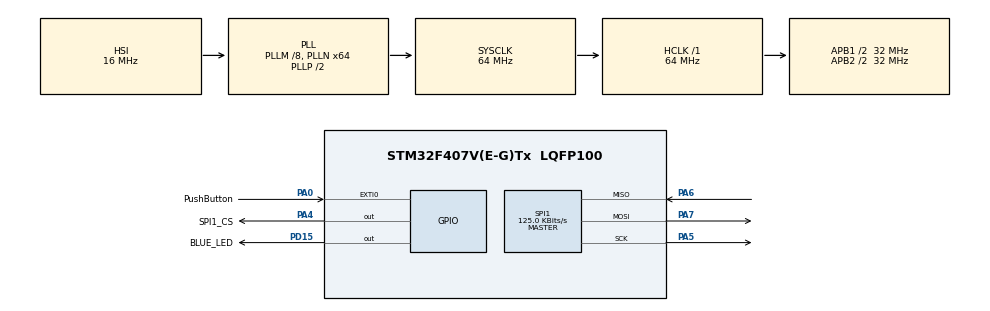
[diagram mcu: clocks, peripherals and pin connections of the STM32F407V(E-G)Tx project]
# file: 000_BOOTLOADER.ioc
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FATFS._MAX_SS=4096
FATFS._USE_LFN=1
Mcu.Family=STM32F4
Mcu.Name=STM32F407V(E-G)Tx
Mcu.Package=LQFP100
NVIC.EXTI0_IRQn=true\:0\:0\:false\:false\:true\:true\:true\:true
NVIC.PriorityGroup=NVIC_PRIORITYGROUP_0
PA0-WKUP.GPIO_Label=PushButton
PA0-WKUP.GPIO_ModeDefaultEXTI=GPIO_MODE_IT_FALLING
PA0-WKUP.GPIO_PuPd=GPIO_PULLUP
PA0-WKUP.Signal=GPXTI0
PA13.Mode=Serial_Wire
PA13.Signal=SYS_JTMS-SWDIO
PA14.Mode=Serial_Wire
PA14.Signal=SYS_JTCK-SWCLK
PA4.GPIO_Label=SPI1_CS
PA4.Signal=GPIO_Output
PA5.GPIO_PuPd=GPIO_PULLUP
PA5.GPIO_Speed=GPIO_SPEED_FREQ_LOW
PA5.Mode=Full_Duplex_Master
PA5.Signal=SPI1_SCK
PA6.GPIO_PuPd=GPIO_PULLUP
PA6.GPIO_Speed=GPIO_SPEED_FREQ_LOW
PA6.Mode=Full_Duplex_Master
PA6.Signal=SPI1_MISO
PA7.GPIO_PuPd=GPIO_PULLUP
PA7.GPIO_Speed=GPIO_SPEED_FREQ_LOW
PA7.Mode=Full_Duplex_Master
PA7.Signal=SPI1_MOSI
PD15.GPIO_Label=BLUE_LED
PD15.Signal=GPIO_Output
ProjectManager.HeapSize=0x200
ProjectManager.StackSize=0x400
ProjectManager.TargetToolchain=STM32CubeIDE
RCC.48MHZClocksFreq_Value=18285714.285714287
RCC.AHBFreq_Value=64000000
RCC.APB1CLKDivider=RCC_HCLK_DIV2
RCC.APB1Freq_Value=32000000
RCC.APB1TimFreq_Value=64000000
RCC.APB2CLKDivider=RCC_HCLK_DIV2
RCC.APB2Freq_Value=32000000
RCC.APB2TimFreq_Value=64000000
RCC.CortexFreq_Value=64000000
RCC.HCLKFreq_Value=64000000
RCC.HSE_VALUE=8000000
RCC.HSI_VALUE=16000000
RCC.LSE_VALUE=32768
RCC.PLLM=8
RCC.PLLN=64
RCC.PLLQ=7
RCC.SYSCLKFreq_VALUE=64000000
RCC.SYSCLKSource=RCC_SYSCLKSOURCE_PLLCLK
RCC.VCOOutputFreq_Value=128000000
SPI1.BaudRatePrescaler=SPI_BAUDRATEPRESCALER_256
SPI1.CalculateBaudRate=125.0 KBits/s
SPI1.Direction=SPI_DIRECTION_2LINES
SPI1.Mode=SPI_MODE_MASTER
SPI1.VirtualType=VM_MASTER
VP_FATFS_VS_Generic.Mode=User_defined
board=STM32F407G-DISC1

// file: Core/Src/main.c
/* USER CODE BEGIN Header */
/**
 ******************************************************************************
 * @file           : main.c
 * @brief          : Main program body
 ******************************************************************************
 * @attention
 *
 * Copyright (c) 2026 STMicroelectronics.
 * All rights reserved.
 *
 * This software is licensed under terms that can be found in the LICENSE file
 * in the root directory of this software component.
 * If no LICENSE file comes with this software, it is provided AS-IS.
 *
 ******************************************************************************
 */
/* USER CODE END Header */
#include "main.h"

/* USER CODE BEGIN Includes */
#include <stdio.h>
#include <string.h>

#include "fatfs.h"
#include "download_firmware.h"
#include "jump_to_app.h"
#include "flash_addresses.h"
/* USER CODE END Includes */

SPI_HandleTypeDef hspi1;

void SystemClock_Config(void);
static void MX_GPIO_Init(void);
static void MX_SPI1_Init(void);

/* USER CODE BEGIN 0 */

void HAL_GPIO_EXTI_Callback(uint16_t GPIO_Pin)
{
  HAL_GPIO_TogglePin(BLUE_LED_GPIO_Port, BLUE_LED_Pin);
}
/* USER CODE END 0 */

int main(void)
{

  /* MCU Configuration--------------------------------------------------------*/

  /* Reset of all peripherals, Initializes the Flash interface and the Systick. */
  HAL_Init();

  /* Configure the system clock */
  SystemClock_Config();

  /* Initialize all configured peripherals */
  MX_GPIO_Init();
  MX_SPI1_Init();
  MX_FATFS_Init();
  /* USER CODE BEGIN 2 */

  // --------------- SD CARD TEST -----------------------

//	uint8_t err = is_app_valid();
//	if (err) {
//		while (1);
//	}

//  jump_to_application();
  uint32_t active_slot;

  active_slot = bootloader_get_active_slot();

  if (active_slot == APP1_SLOT)
  {
//	  download_and_flash_firmware(APP2_START_ADDR);
//	  HAL_RCC_DeInit();
	  bootloader_set_active_slot(APP2_SLOT);
//      jump_to_application(APP2_START_ADDR);
  }
  else if (active_slot == APP2_SLOT)
  {
		download_and_flash_firmware(APP1_START_ADDR);
		HAL_RCC_DeInit();
		bootloader_set_active_slot(APP1_SLOT);
		jump_to_application(APP1_START_ADDR);
  }
  else
  {
	  	download_and_flash_firmware(APP1_START_ADDR);
		HAL_RCC_DeInit();
		bootloader_set_active_slot(APP1_SLOT);
		jump_to_application(APP1_START_ADDR);
  }
  /* USER CODE END 2 */

  /* Infinite loop */
  while (1)
  {
	  HAL_GPIO_TogglePin(BLUE_LED_GPIO_Port, BLUE_LED_Pin);
	  HAL_Delay(2000);
  }
}

void SystemClock_Config(void)
{
  RCC_OscInitTypeDef RCC_OscInitStruct = {0};
  RCC_ClkInitTypeDef RCC_ClkInitStruct = {0};

  /** Configure the main internal regulator output voltage
   */
  __HAL_RCC_PWR_CLK_ENABLE();
  __HAL_PWR_VOLTAGESCALING_CONFIG(PWR_REGULATOR_VOLTAGE_SCALE1);

  /** Initializes the RCC Oscillators according to the specified parameters
   * in the RCC_OscInitTypeDef structure.
   */
  RCC_OscInitStruct.OscillatorType = RCC_OSCILLATORTYPE_HSI;
  RCC_OscInitStruct.HSIState = RCC_HSI_ON;
  RCC_OscInitStruct.HSICalibrationValue = RCC_HSICALIBRATION_DEFAULT;
  RCC_OscInitStruct.PLL.PLLState = RCC_PLL_ON;
  RCC_OscInitStruct.PLL.PLLSource = RCC_PLLSOURCE_HSI;
  RCC_OscInitStruct.PLL.PLLM = 8;
  RCC_OscInitStruct.PLL.PLLN = 64;
  RCC_OscInitStruct.PLL.PLLP = RCC_PLLP_DIV2;
  RCC_OscInitStruct.PLL.PLLQ = 7;
  if (HAL_RCC_OscConfig(&RCC_OscInitStruct) != HAL_OK)
  {
    Error_Handler();
  }

  /** Initializes the CPU, AHB and APB buses clocks
   */
  RCC_ClkInitStruct.ClockType = RCC_CLOCKTYPE_HCLK | RCC_CLOCKTYPE_SYSCLK | RCC_CLOCKTYPE_PCLK1 | RCC_CLOCKTYPE_PCLK2;
  RCC_ClkInitStruct.SYSCLKSource = RCC_SYSCLKSOURCE_PLLCLK;
  RCC_ClkInitStruct.AHBCLKDivider = RCC_SYSCLK_DIV1;
  RCC_ClkInitStruct.APB1CLKDivider = RCC_HCLK_DIV2;
  RCC_ClkInitStruct.APB2CLKDivider = RCC_HCLK_DIV2;

  if (HAL_RCC_ClockConfig(&RCC_ClkInitStruct, FLASH_LATENCY_2) != HAL_OK)
  {
    Error_Handler();
  }
}

static void MX_SPI1_Init(void)
{

  /* SPI1 parameter configuration*/
  hspi1.Instance = SPI1;
  hspi1.Init.Mode = SPI_MODE_MASTER;
  hspi1.Init.Direction = SPI_DIRECTION_2LINES;
  hspi1.Init.DataSize = SPI_DATASIZE_8BIT;
  hspi1.Init.CLKPolarity = SPI_POLARITY_LOW;
  hspi1.Init.CLKPhase = SPI_PHASE_1EDGE;
  hspi1.Init.NSS = SPI_NSS_SOFT;
  hspi1.Init.BaudRatePrescaler = SPI_BAUDRATEPRESCALER_256;
  hspi1.Init.FirstBit = SPI_FIRSTBIT_MSB;
  hspi1.Init.TIMode = SPI_TIMODE_DISABLE;
  hspi1.Init.CRCCalculation = SPI_CRCCALCULATION_DISABLE;
  hspi1.Init.CRCPolynomial = 10;
  if (HAL_SPI_Init(&hspi1) != HAL_OK)
  {
    Error_Handler();
  }
}

static void MX_GPIO_Init(void)
{
  GPIO_InitTypeDef GPIO_InitStruct = {0};

  /* GPIO Ports Clock Enable */
  __HAL_RCC_GPIOA_CLK_ENABLE();
  __HAL_RCC_GPIOD_CLK_ENABLE();

  /*Configure GPIO pin Output Level */
//  HAL_GPIO_WritePin(SPI1_CS_GPIO_Port, SPI1_CS_Pin, GPIO_PIN_RESET);
//
//  /*Configure GPIO pin Output Level */
//  HAL_GPIO_WritePin(BLUE_LED_GPIO_Port, BLUE_LED_Pin, GPIO_PIN_RESET);

  /*Configure GPIO pin : PushButton_Pin */
  GPIO_InitStruct.Pin = PushButton_Pin;
  GPIO_InitStruct.Mode = GPIO_MODE_IT_FALLING;
  GPIO_InitStruct.Pull = GPIO_PULLUP;
  HAL_GPIO_Init(PushButton_GPIO_Port, &GPIO_InitStruct);

  /*Configure GPIO pin : SPI1_CS_Pin */
//  GPIO_InitStruct.Pin = SPI1_CS_Pin;
//  GPIO_InitStruct.Mode = GPIO_MODE_OUTPUT_PP;
//  GPIO_InitStruct.Pull = GPIO_NOPULL;
//  GPIO_InitStruct.Speed = GPIO_SPEED_FREQ_LOW;
//  HAL_GPIO_Init(SPI1_CS_GPIO_Port, &GPIO_InitStruct);
//
  /*Configure GPIO pin : BLUE_LED_Pin */
  GPIO_InitStruct.Pin = BLUE_LED_Pin;
  GPIO_InitStruct.Mode = GPIO_MODE_OUTPUT_PP;
  GPIO_InitStruct.Pull = GPIO_NOPULL;
  GPIO_InitStruct.Speed = GPIO_SPEED_FREQ_LOW;
  HAL_GPIO_Init(BLUE_LED_GPIO_Port, &GPIO_InitStruct);
//
//  /* EXTI interrupt init*/
//  HAL_NVIC_SetPriority(EXTI0_IRQn, 0, 0);
//  HAL_NVIC_EnableIRQ(EXTI0_IRQn);

}

void Error_Handler(void)
{
  __disable_irq();
  while (1)
  {
  }
}
